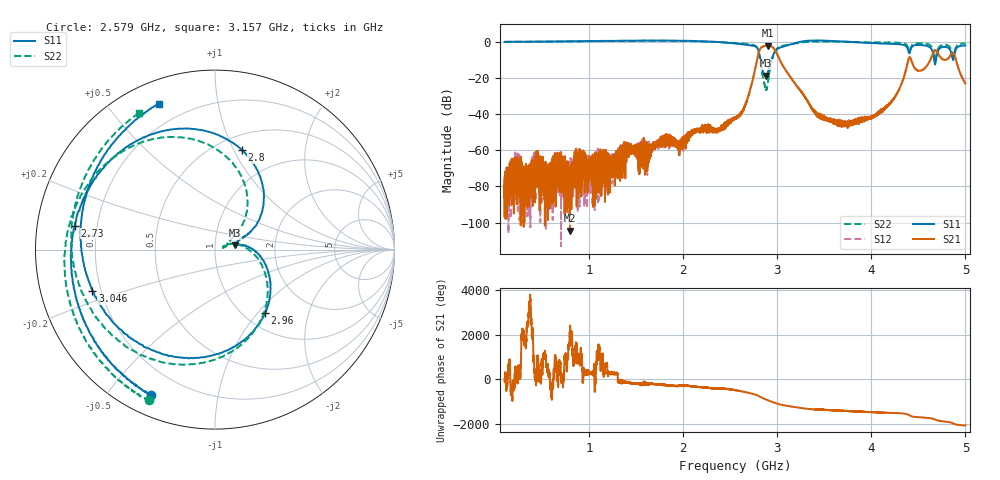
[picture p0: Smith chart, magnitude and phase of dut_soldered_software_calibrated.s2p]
!Keysight Technologies N9917A: A.13.25
!Date: Thursday, 15 October 2026 16:14:31
!Timezone: (UTC-08:00) Pacific Time (US & Canada)
!Model: N9917A
!Serial: MY56072049
!GPS Latitude:
!GPS Longitude:
!GPS TimeStamp: 0001-01-01 00:00:00Z
!GPS Seconds Since Last Read: 0
!CHECKSUM:1733103286
!Correction: S11(Rdy)S21(Rdy)S12(Rdy)S22(Rdy)
!S2P File: Measurements:S11,S21,S12,S22:
! Created with skrf 2.1.0 (http://scikit-rf.org).
# Hz S RI R 50.0
!freq ReS11 ImS11 ReS21 ImS21 ReS12 ImS12 ReS22 ImS22
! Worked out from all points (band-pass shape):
!   10001 points, 100 MHz to 5 GHz, reference 50 ohm
!   highest |S21| = -2.04 dB at 2.896 GHz (marker M1); lowest = -104.5 dB at 795.3 MHz (marker M2)
!   |S21| within 3 dB of the highest: 2.808 GHz to 2.981 GHz (172.5 MHz wide, 5.96 % of centre); 4.668 GHz to 4.692 GHz (24.17 MHz wide, 0.516 % of centre)
!   lowest |S11| = -18.8 dB at 2.881 GHz (marker M3), VSWR 1.26, Z = 62.6 + j3.12 ohm
!   |S11| at or under -10 dB: 2.821 GHz to 2.937 GHz (116 MHz wide, 4.03 % of centre); 4.668428 GHz to 4.687551 GHz (19.12 MHz wide, 0.409 % of centre); 4.868948 GHz to 4.869343 GHz (395.4 kHz wide, 0.00812 % of centre) (the widest 3 of 4)
!   |S22| runs from -26.6 to 0.6 dB; largest |S21 - S12| = 0.0041
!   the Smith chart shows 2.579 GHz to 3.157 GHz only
!   S11 on the Smith chart (normalised r, x): 2.579 GHz: 0.08, -0.65; 2.73 GHz: 0.12, +0.08; 2.8 GHz: 0.65, +1.08; 2.96 GHz: 1.23, -1.09; 3.046 GHz: 0.17, -0.16; 3.157 GHz: 0.10, +0.68
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1e8  -0.9893 0.1511  0.000162 5.09e-05  -6.01e-05 -9.7e-05  -0.9897 0.147
7.9531e8  -0.3654 0.9656  5.92e-06 -7.57e-07  -0.000457 -4.56e-05  -0.3826 0.9509
9.1683e8  -0.1918 1.03  -1.52e-05 -5.1e-05  0.000328 -0.000281  -0.2099 1.015
1.73366e9  0.981 0.4611  -0.00126 0.00116  -0.000873 0.00135  0.9644 0.4578
2.16192e9  0.9308 -0.4752  0.00328 0.00116  0.00338 0.000612  0.9106 -0.4937
2.55e9  -0.2286 -0.8721  -0.00382 -0.00611  -0.00453 -0.00654  -0.2415 -0.8972
2.5794e9  -0.3587 -0.8124  -0.00679 -0.0045  -0.00697 -0.00451  -0.3692 -0.8384
2.73032e9  -0.7819 0.1335  0.0151 0.0713  0.0152 0.0722  -0.8281 0.0537
2.7999e9  0.151 0.5553  0.4349 -0.1862  0.4345 -0.1866  0.0249 0.5469
2.83812e9  0.1656 0.0763  -0.2597 -0.6833  -0.2592 -0.6845  0.1109 0.0792
2.88075e9  0.1123 0.0246  -0.7781 0.1075  -0.7784 0.1078  0.0454 0.0116
2.89594e9  0.1309 0.0287  -0.6628 0.4306  -0.6598 0.4306  0.0583 0.0243
2.96013e9  0.277 -0.3551  0.5003 0.4479  0.5003 0.4481  0.2746 -0.3457
3.04637e9  -0.6832 -0.2291  0.104 -0.2281  0.1025 -0.2282  -0.7068 -0.3104
3.15662e9  -0.3094 0.8128  -0.0792 -0.0463  -0.0794 -0.047  -0.4247 0.7612
3.36683e9  1.069 0.1535  -0.00163 0.0146  -0.00153 0.014  0.9958 0.1929
3.67406e9  0.3481 -0.9663  0.00515 0.00319  0.00548 0.00261  0.3399 -0.9529
4.18366e9  -0.7147 -0.5239  0.0087 -0.0164  0.00796 -0.0159  -0.7524 -0.5866
4.40171e9  -0.4757 -0.0915  -0.3606 -0.0865  -0.3614 -0.087  -0.5474 -0.1142
4.67807e9  -0.2381 0.0213  0.5854 -0.0754  0.5848 -0.0761  -0.3125 0.0328
4.86231e9  -0.3346 0.1277  -0.4838 -0.1335  -0.4841 -0.1322  -0.4157 0.1525
5e9  -0.7787 0.1595  0.00237 0.0706  0.00191 0.0706  -0.8931 0.1632
